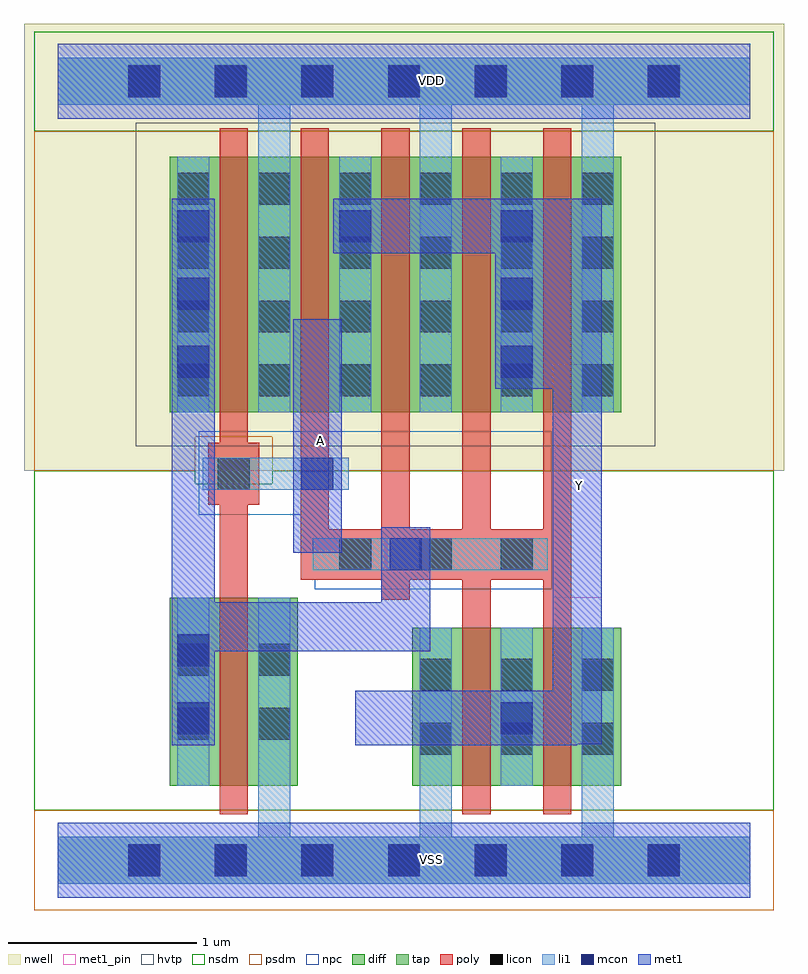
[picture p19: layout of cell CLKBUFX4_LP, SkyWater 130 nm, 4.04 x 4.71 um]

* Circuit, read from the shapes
.subckt CLKBUFX4_LP A VDD VSS Y
XM1 VSS A n1 VSS sky130_fd_pr__nfet_01v8 w=1 l=0.15
XM2 Y n1 VSS VSS sky130_fd_pr__nfet_01v8 w=0.84 l=0.15 m=2
XM3 VDD A n1 VDD sky130_fd_pr__pfet_01v8_hvt w=1.36 l=0.15
XM4 Y n1 VDD VDD sky130_fd_pr__pfet_01v8_hvt w=1.36 l=0.15 m=4
.ends

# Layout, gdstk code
from math import pi, radians
import gdstk
lib = gdstk.Library(unit=1e-6, precision=1e-09)
def R(c, l, rs):  # rectangles x0, y0, x1, y1
    for r in rs: c.add(gdstk.rectangle(r[:2], r[2:], *l))
def A(c, l, x, y, w, h, nx, ny, dx, dy):  # array of equal rectangles
    R(c, l, [(x+i*dx, y+j*dy, x+i*dx+w, y+j*dy+h) for i in range(nx) for j in range(ny)])
def P(c, l, *ps):  # polygons
    for p in ps: c.add(gdstk.Polygon(p, *l))
nwell = (64, 20)
diff = (65, 20)
tap = (65, 44)
poly = (66, 20)
licon = (66, 44)
li1 = (67, 20)
mcon = (67, 44)
met1_pin = (68, 16)
met1 = (68, 20)
hvtp = (78, 44)
nsdm = (93, 44)
psdm = (94, 20)
npc = (95, 20)

l1m1_c_cdns_795853916194 = lib.new_cell('L1M1_C_CDNS_795853916194')
R(l1m1_c_cdns_795853916194, li1, [(-0.165,-0.085,0.165,0.085)])
R(l1m1_c_cdns_795853916194, mcon, [(-0.085,-0.085,0.085,0.085)])
R(l1m1_c_cdns_795853916194, met1, [(-0.115,-0.145,0.115,0.145)])

l1m1_c_cdns_795853916191 = lib.new_cell('L1M1_C_CDNS_7958539161911')
R(l1m1_c_cdns_795853916191, li1, [(-0.085,-0.165,0.085,0.165)])
R(l1m1_c_cdns_795853916191, mcon, [(-0.085,-0.085,0.085,0.085)])
R(l1m1_c_cdns_795853916191, met1, [(-0.455,-0.13,0.145,0.13)])

pyl1con_c_cdns_795853916 = lib.new_cell('PYL1CON_C_CDNS_795853916195')
R(pyl1con_c_cdns_795853916, poly, [(-0.135,-0.165,0.135,0.165)])
R(pyl1con_c_cdns_795853916, licon, [(-0.085,-0.085,0.085,0.085)])
R(pyl1con_c_cdns_795853916, npc, [(-0.185,-0.185,0.185,0.185)])

c_l1m1_c_cdns_795853916191 = lib.new_cell('L1M1_C_CDNS_7958539161912')
R(c_l1m1_c_cdns_795853916191, li1, [(-0.085,-0.525,0.085,0.525)])
A(c_l1m1_c_cdns_795853916191, mcon, -0.085, -0.445, 0.17, 0.17, 1, 3, 0, 0.36)
R(c_l1m1_c_cdns_795853916191, met1, [(-0.115,-0.505,0.115,0.505)])

l1m1_c_cdns_795853916199 = lib.new_cell('L1M1_C_CDNS_795853916199')
R(l1m1_c_cdns_795853916199, li1, [(-0.085,-0.345,0.085,0.345)])
R(l1m1_c_cdns_795853916199, mcon, [(-0.085,-0.265,0.085,-0.095), (-0.085,0.095,0.085,0.265)])
R(l1m1_c_cdns_795853916199, met1, [(-0.115,-0.325,0.115,0.325)])

l1m1_c_cdns_795853916197 = lib.new_cell('L1M1_C_CDNS_795853916197')
R(l1m1_c_cdns_795853916197, li1, [(-0.085,-0.165,0.085,0.165)])
R(l1m1_c_cdns_795853916197, mcon, [(-0.085,-0.085,0.085,0.085)])
R(l1m1_c_cdns_795853916197, met1, [(-0.115,-0.145,0.115,0.145)])

clkbufx4_lp = lib.new_cell('CLKBUFX4_LP')
R(clkbufx4_lp, nwell, [(-0.18,2.07,3.86,4.445)])
R(clkbufx4_lp, diff, [(0.595,0.395,1.275,1.395), (1.885,0.395,2.995,1.235), (0.595,2.38,2.995,3.74)])
R(clkbufx4_lp, poly, [(0.86,0.245,1.01,3.89), (1.72,1.385,1.87,3.89), (1.29,1.49,1.44,3.89)])
P(clkbufx4_lp, poly, [(2.15,0.245),(2.15,1.49),(2.01,1.49),(2.01,1.76),(2.15,1.76),(2.15,3.89),(2.3,3.89),(2.3,1.64),(2.58,1.64),(2.58,3.89),(2.73,3.89),(2.73,0.245),(2.58,0.245),(2.58,1.49),(2.3,1.49),(2.3,0.245)])
A(clkbufx4_lp, licon, 0.375, -0.085, 0.17, 0.17, 7, 2, 0.46, 4.14)
A(clkbufx4_lp, licon, 1.925, 0.56, 0.17, 0.17, 3, 2, 0.43, 0.34)
A(clkbufx4_lp, licon, 0.635, 2.465, 0.17, 0.17, 6, 4, 0.43, 0.34)
R(clkbufx4_lp, licon, [(0.635,0.64,0.805,0.81), (1.065,0.64,1.235,0.81), (0.635,0.98,0.805,1.15), (1.065,0.98,1.235,1.15)])
A(clkbufx4_lp, li1, 0.635, 2.38, 0.17, 1.36, 3, 1, 0.86, 0)
R(clkbufx4_lp, li1, [(0.635,0.395,0.805,1.395), (2.355,0.395,2.525,1.235)])
P(clkbufx4_lp, li1, [(1.065,2.38),(1.065,4.015),(0,4.015),(0,4.265),(3.68,4.265),(3.68,4.015),(2.955,4.015),(2.955,2.38),(2.785,2.38),(2.785,4.015),(2.095,4.015),(2.095,2.38),(1.925,2.38),(1.925,4.015),(1.235,4.015),(1.235,2.38)],
  [(0,-0.125),(0,0.125),(1.065,0.125),(1.065,1.395),(1.235,1.395),(1.235,0.125),(1.925,0.125),(1.925,1.235),(2.095,1.235),(2.095,0.125),(2.785,0.125),(2.785,1.235),(2.955,1.235),(2.955,0.125),(3.68,0.125),(3.68,-0.125)])
A(clkbufx4_lp, mcon, 0.375, -0.085, 0.17, 0.17, 7, 2, 0.46, 4.14)
R(clkbufx4_lp, met1_pin, [(2.63,1.395,2.89,2.635), (1.25,1.635,1.51,2.875)])
P(clkbufx4_lp, met1, [(0.605,1.11),(0.605,3.01),(0.835,3.01),(0.835,1.37),(1.72,1.37),(1.72,1.625),(1.98,1.625),(1.98,1.11)],
  [(1.58,0.61),(1.58,0.9),(2.63,0.9),(2.63,2.505),(2.325,2.505),(2.325,3.225),(1.58,3.225),(1.58,3.515),(2.89,3.515),(2.89,0.615),(2.76,0.615),(2.76,0.61)])
R(clkbufx4_lp, hvtp, [(0.415,2.2,3.175,3.92)])
R(clkbufx4_lp, nsdm, [(-0.125,3.875,3.805,4.405)])
P(clkbufx4_lp, nsdm, [(-0.125,0.265),(-0.125,2.07),(0.73,2.07),(0.73,2),(1.14,2),(1.14,2.07),(3.805,2.07),(3.805,0.265)])
R(clkbufx4_lp, psdm, [(-0.125,-0.265,3.805,0.265)])
P(clkbufx4_lp, psdm, [(-0.125,2.07),(-0.125,3.875),(3.805,3.875),(3.805,2.07),(1.14,2.07),(1.14,2.25),(0.73,2.25),(0.73,2.07)])
P(clkbufx4_lp, npc, [(1.365,1.44),(1.365,1.49),(1.29,1.49),(1.29,1.835),(0.75,1.835),(0.75,2.28),(2.625,2.28),(2.625,1.44)])
clkbufx4_lp.add(gdstk.FlexPath([(0,4.14),(3.68,4.14)], 0.4, ends="flush", simple_path=True, layer=68, datatype=20))  # met1
clkbufx4_lp.add(gdstk.FlexPath([(0,0),(3.68,0)], 0.4, ends="flush", simple_path=True, layer=68, datatype=20))  # met1
clkbufx4_lp.add(gdstk.FlexPath([(1.38,1.635),(1.38,2.875)], 0.26, ends="flush", simple_path=True, layer=68, datatype=20))  # met1
clkbufx4_lp.add(gdstk.FlexPath([(1.355,1.625),(2.605,1.625)], 0.17, ends="flush", simple_path=True, layer=67, datatype=20))  # li1
clkbufx4_lp.add(gdstk.FlexPath([(0.77,2.055),(1.38,2.055)], 0.17, ends="flush", simple_path=True, layer=67, datatype=20))  # li1
clkbufx4_lp.add(gdstk.FlexPath([(0,4.14),(3.68,4.14)], 0.25, ends="flush", simple_path=True, layer=65, datatype=44))  # tap
clkbufx4_lp.add(gdstk.FlexPath([(0,0),(3.68,0)], 0.25, ends="flush", simple_path=True, layer=65, datatype=44))  # tap
clkbufx4_lp.add(gdstk.FlexPath([(0,4.14),(3.68,4.14)], 0.4, ends="flush", simple_path=True, layer=68, datatype=16))  # met1_pin
clkbufx4_lp.add(gdstk.FlexPath([(0,0),(3.68,0)], 0.4, ends="flush", simple_path=True, layer=68, datatype=16))  # met1_pin
clkbufx4_lp.add(gdstk.Reference(l1m1_c_cdns_795853916194, (1.38,2.055), x_reflection=True))
clkbufx4_lp.add(gdstk.Reference(l1m1_c_cdns_795853916191, (1.85,1.625), rotation=pi/2))
clkbufx4_lp.add(gdstk.Reference(pyl1con_c_cdns_795853916, (2.01,1.625), rotation=pi/2))
clkbufx4_lp.add(gdstk.Reference(pyl1con_c_cdns_795853916, (1.58,1.625), rotation=pi/2))
clkbufx4_lp.add(gdstk.Reference(pyl1con_c_cdns_795853916, (2.44,1.625), rotation=pi/2))
clkbufx4_lp.add(gdstk.Reference(pyl1con_c_cdns_795853916, (0.935,2.055), rotation=pi, x_reflection=True))
clkbufx4_lp.add(gdstk.Reference(c_l1m1_c_cdns_795853916191, (2.44,3.01)))
clkbufx4_lp.add(gdstk.Reference(c_l1m1_c_cdns_795853916191, (0.72,3.01)))
clkbufx4_lp.add(gdstk.Reference(l1m1_c_cdns_795853916199, (0.72,0.935)))
clkbufx4_lp.add(gdstk.Reference(l1m1_c_cdns_795853916197, (1.58,3.37)))
clkbufx4_lp.add(gdstk.Reference(l1m1_c_cdns_795853916197, (2.44,0.755)))
clkbufx4_lp.add(gdstk.Label('VDD', (1.985,4.145), layer=68, texttype=5))
clkbufx4_lp.add(gdstk.Label('VDD', (1.985,4.145), layer=68, texttype=5))
clkbufx4_lp.add(gdstk.Label('A', (1.395,2.23), layer=68, texttype=5))
clkbufx4_lp.add(gdstk.Label('VSS', (1.985,0.005), layer=68, texttype=5))
clkbufx4_lp.add(gdstk.Label('Y', (2.775,1.99), layer=68, texttype=5))

lib.write_gds('CLKBUFX4_LP.gds')
